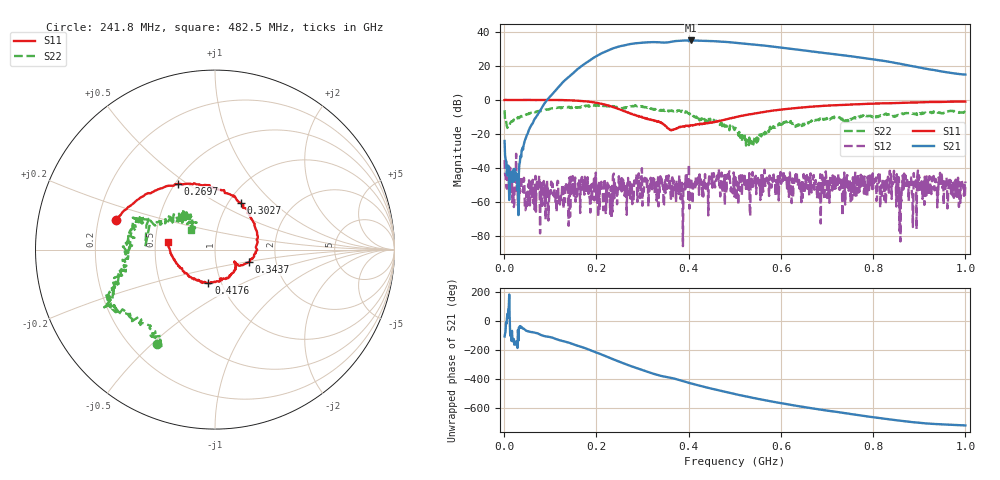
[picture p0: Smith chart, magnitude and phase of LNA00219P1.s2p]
! Created with skrf 1.9.0 (http://scikit-rf.org).
# Hz S RI R 50.0
!freq ReS11 ImS11 ReS21 ImS21 ReS12 ImS12 ReS22 ImS22
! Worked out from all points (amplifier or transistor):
!   1001 points, 1 MHz to 1 GHz, reference 50 ohm
!   highest |S21| = 35.0 dB at 404.6 MHz (marker M1)
!   |S21| within 3 dB of that: 257.6 MHz to 562.9 MHz (305.3 MHz wide, 74.4 % of centre)
!   unconditionally stable (mu >= 1): 3.541 MHz to 101.8 MHz; 236 MHz to 286.6 MHz; 298.9 MHz to end of sweep (the widest 3 of 27)
!   at 166.8 MHz: K = 1.28, MAG = 31.7 dB, |S12| = -50.1 dB
!   at 500.5 MHz: K = 1.66, MAG = 34.1 dB, |S12| = -44.1 dB
!   at 1 GHz: K = 4.08, MAG = 22.4 dB, |S12| = -48.1 dB
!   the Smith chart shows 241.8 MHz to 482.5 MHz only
!   S11 on the Smith chart (normalised r, x): 241.8 MHz: 0.27, +0.14; 269.7 MHz: 0.52, +0.46; 302.7 MHz: 1.14, +0.65; 343.7 MHz: 1.44, -0.21; 417.6 MHz: 0.87, -0.34; 482.5 MHz: 0.58, +0.06
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1000000  0.9869 0.00925  -0.0155 -0.0595  -0.0138 0.00956  0.3509 0.3498
1.08892e8  0.5053 -0.8513  -0.8163 -1.524  -0.000315 0.00237  0.4299 -0.3661
1.67833e8  -0.2639 -0.8865  -9.918 -0.4693  -0.0025 -0.00435  0.0415 -0.64
2.08792e8  -0.6844 -0.3669  -15.51 16.44  0.00184 -0.00161  -0.1835 -0.6461
2.41759e8  -0.5528 0.166  -0.5446 34.71  -0.00272 -0.000796  -0.3207 -0.5265
2.69731e8  -0.2057 0.3658  23.73 35.54  -0.00116 0.00106  -0.4956 -0.3555
3.02698e8  0.1447 0.2583  45.64 15.99  -0.000529 0.00187  -0.5746 -0.2277
3.34666e8  0.2264 -0.0114  48.46 -11.03  8.33e-05 0.000727  -0.5181 -0.0524
3.43657e8  0.1876 -0.0711  45.94 -16.6  -0.000209 0.00285  -0.4875 -0.0217
3.72628e8  0.1156 -0.0822  41.81 -34.43  0.000625 0.000718  -0.4478 0.1573
4.04596e8  0.0271 -0.1763  19.84 -52.5  0.000789 0.00474  -0.3189 0.1447
4.17583e8  -0.0365 -0.1864  9.557 -54.71  6.68e-05 0.00357  -0.2432 0.1696
4.46554e8  -0.1711 -0.1235  -12.38 -52.72  0.00514 0.00112  -0.1781 0.214
4.82518e8  -0.2641 0.0442  -32.55 -38.48  0.00402 0.000517  -0.1348 0.1074
5.005e8  -0.2668 0.1432  -38.73 -28.96  0.00162 -0.00602  -0.1248 0.085
5.39461e8  -0.1898 0.3387  -42.16 -7.834  0.00075 -0.00266  -0.0502 -0.0028
5.85415e8  0.00932 0.4873  -35.03 11.15  0.00287 -0.0023  -0.1445 -0.0704
6.25375e8  0.2 0.5259  -23.99 20.08  0.00458 -0.00168  -0.1661 -0.1108
6.67333e8  0.3998 0.4876  -12.56 23.28  -0.00175 -0.00287  -0.2368 -0.0294
7.53247e8  0.6741 0.2774  3.944 18.61  -0.00035 -0.00355  -0.2672 0.0283
8.34166e8  0.7959 0.0175  9.819 8.922  0.000817 0.00165  -0.3748 0.0341
1e9  0.7258 -0.5224  5.551 -0.0177  -0.00193 -0.00344  -0.2709 0.3234
